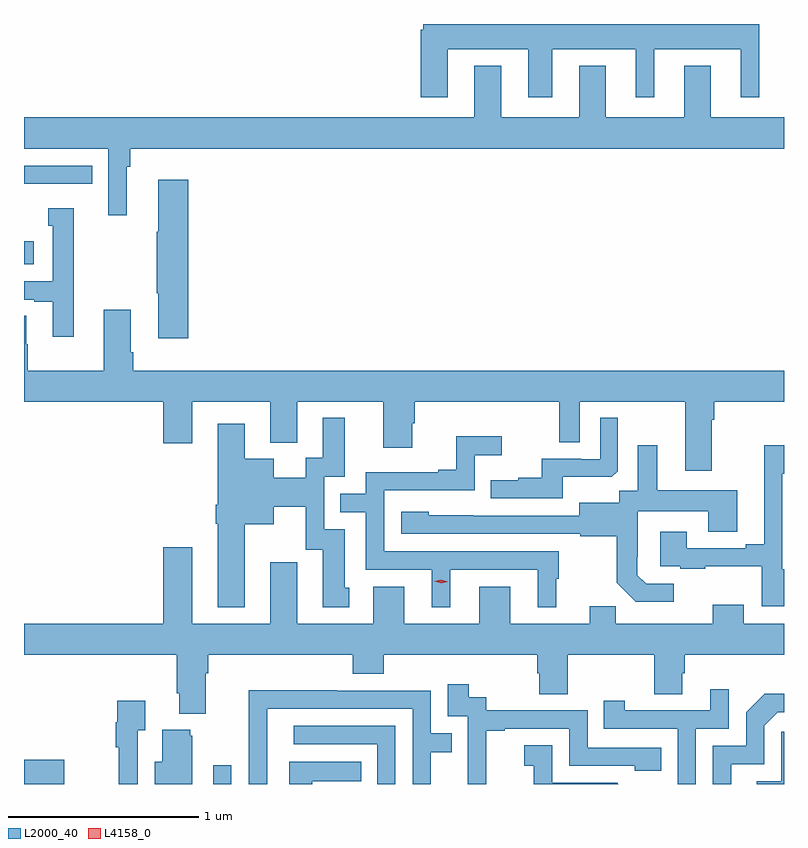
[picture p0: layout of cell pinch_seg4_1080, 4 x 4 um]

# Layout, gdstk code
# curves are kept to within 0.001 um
import gdstk
lib = gdstk.Library(unit=1e-6, precision=1e-09)
def R(c, l, rs):  # rectangles x0, y0, x1, y1
    for r in rs: c.add(gdstk.rectangle(r[:2], r[2:], *l))
def P(c, l, *ps):  # polygons
    for p in ps: c.add(gdstk.Polygon(p, *l))
L2000_40 = (2000, 40)
L4158_0 = (4158, 0)

pinch_seg4_1080 = lib.new_cell('pinch_seg4_1080')
R(pinch_seg4_1080, L2000_40, [(553.576,793.476,553.789,793.604), (554.571,793.476,554.667,793.576), (553.576,796.211,553.627,796.333), (553.576,796.635,553.934,796.731)])
P(pinch_seg4_1080, L2000_40, [(555.805,797.342),(556.229,797.342),(556.229,797.091),(556.357,797.091),(556.357,797.342),(556.796,797.342),(556.796,797.091),(556.894,797.091),(556.894,797.342),(557.348,797.342),(557.348,797.091),(557.446,797.091),(557.446,797.476),(555.677,797.476),(555.677,797.446),(555.665,797.446),(555.665,797.091),(555.805,797.091)],
  [(554.116,796.724),(554.135,796.724),(554.135,796.82),(557.576,796.82),(557.576,796.984),(557.191,796.984),(557.191,797.257),(557.051,797.257),(557.051,796.984),(556.639,796.984),(556.639,797.257),(556.499,797.257),(556.499,796.984),(556.087,796.984),(556.087,797.257),(555.947,797.257),(555.947,796.984),(553.576,796.984),(553.576,796.82),(554.019,796.82),(554.019,796.47),(554.116,796.47)],
  [(554.441,796.657),(554.282,796.657),(554.282,796.382),(554.275,796.382),(554.275,796.06),(554.282,796.06),(554.282,795.822),(554.441,795.822)],
  [(553.837,796.507),(553.703,796.507),(553.703,796.413),(553.728,796.413),(553.728,796.122),(553.576,796.122),(553.576,796.026),(553.631,796.026),(553.631,796.014),(553.727,796.014),(553.727,795.831),(553.837,795.831)],
  [(554.15,795.748),(554.137,795.748),(554.137,795.973),(553.997,795.973),(553.997,795.652),(553.596,795.652),(553.596,795.791),(553.588,795.791),(553.588,795.941),(553.576,795.941),(553.576,795.488),(554.309,795.488),(554.309,795.27),(554.461,795.27),(554.461,795.488),(554.873,795.488),(554.873,795.272),(555.013,795.272),(555.013,795.488),(555.467,795.488),(555.467,795.246),(555.619,795.246),(555.619,795.375),(555.632,795.375),(555.632,795.488),(556.392,795.488),(556.392,795.274),(556.5,795.274),(556.5,795.488),(557.057,795.488),(557.057,795.126),(557.197,795.126),(557.197,795.392),(557.21,795.392),(557.21,795.488),(557.576,795.488),(557.576,795.652),(554.15,795.652)],
  [(554.737,794.843),(554.89,794.843),(554.89,794.936),(555.06,794.936),(555.06,794.709),(555.149,794.709),(555.149,794.406),(555.289,794.406),(555.289,794.508),(555.265,794.508),(555.265,794.817),(555.156,794.817),(555.156,795.093),(555.265,795.093),(555.265,795.403),(555.149,795.403),(555.149,795.194),(555.059,795.194),(555.059,795.088),(554.89,795.088),(554.89,795.187),(554.737,795.187),(554.737,795.373),(554.597,795.373),(554.597,794.947),(554.585,794.947),(554.585,794.847),(554.597,794.847),(554.597,794.405),(554.737,794.405)],
  [(556.411,795.092),(556.669,795.092),(556.701,795.123),(556.701,795.403),(556.608,795.403),(556.608,795.186),(556.508,795.186),(556.508,795.189),(556.301,795.189),(556.301,795.088),(556.177,795.088),(556.177,795.076),(556.033,795.076),(556.033,794.979),(556.411,794.979)],
  [(555.82,794.604),(556.28,794.604),(556.28,794.405),(556.378,794.405),(556.378,794.556),(556.39,794.556),(556.39,794.7),(555.471,794.7),(555.471,795.021),(555.948,795.021),(555.948,795.206),(556.09,795.206),(556.09,795.305),(555.85,795.305),(555.85,795.13),(555.755,795.13),(555.755,795.117),(555.375,795.117),(555.375,795.003),(555.241,795.003),(555.241,794.907),(555.375,794.907),(555.375,794.604),(555.722,794.604),(555.722,794.405),(555.82,794.405)],
  [(556.996,794.529),(556.851,794.529),(556.804,794.576),(556.804,794.671),(556.806,794.671),(556.806,794.912),(557.177,794.912),(557.177,794.803),(557.329,794.803),(557.329,795.022),(556.909,795.022),(556.909,795.259),(556.805,795.259),(556.805,795.02),(556.71,795.02),(556.71,794.956),(556.499,794.956),(556.499,794.889),(555.705,794.89),(555.705,794.908),(555.561,794.908),(555.561,794.793),(556.503,794.793),(556.503,794.781),(556.695,794.781),(556.695,794.535),(556.795,794.435),(556.996,794.435)],
  [(557.576,794.605),(557.568,794.605),(557.568,795.11),(557.576,795.11),(557.576,795.259),(557.471,795.259),(557.471,794.737),(557.375,794.737),(557.375,794.718),(557.065,794.718),(557.065,794.803),(556.925,794.803),(556.925,794.622),(557.029,794.622),(557.029,794.61),(557.161,794.61),(557.161,794.621),(557.46,794.621),(557.46,794.412),(557.576,794.412)],
  [(556.135,794.515),(555.971,794.515),(555.971,794.32),(555.577,794.32),(555.577,794.515),(555.413,794.515),(555.413,794.32),(555.013,794.32),(555.013,794.644),(554.873,794.644),(554.873,794.32),(554.461,794.32),(554.461,794.722),(554.309,794.722),(554.309,794.32),(553.576,794.32),(553.576,794.156),(554.381,794.156),(554.381,793.954),(554.393,793.954),(554.393,793.847),(554.533,793.847),(554.533,794.06),(554.546,794.06),(554.546,794.156),(555.305,794.156),(555.305,794.057),(555.47,794.057),(555.47,794.156),(556.277,794.156),(556.277,794.058),(556.289,794.058),(556.289,793.948),(556.437,793.948),(556.437,794.156),(556.894,794.156),(556.894,793.948),(557.041,793.948),(557.041,794.058),(557.054,794.058),(557.054,794.156),(557.576,794.156),(557.576,794.32),(557.365,794.32),(557.365,794.419),(557.201,794.419),(557.201,794.32),(556.691,794.32),(556.691,794.411),(556.553,794.411),(556.553,794.32),(556.135,794.32)],
  [(556.01,793.755),(556.105,793.755),(556.105,793.767),(556.446,793.767),(556.446,793.572),(556.791,793.572),(556.791,793.545),(556.931,793.545),(556.931,793.668),(556.542,793.668),(556.542,793.863),(556.008,793.863),(556.008,793.932),(555.916,793.932),(555.916,794.002),(555.807,794.002),(555.807,793.833),(555.912,793.833),(555.912,793.604),(555.911,793.604),(555.911,793.476),(556.01,793.476)],
  [(557.112,793.767),(557.286,793.767),(557.286,793.975),(557.189,793.975),(557.189,793.863),(556.738,793.863),(556.738,793.915),(556.627,793.915),(556.627,793.767),(557.016,793.767),(557.016,793.476),(557.112,793.476)],
  [(554.856,793.872),(555.621,793.872),(555.621,793.476),(555.717,793.476),(555.717,793.642),(555.827,793.642),(555.827,793.743),(555.717,793.743),(555.717,793.968),(555.221,793.968),(555.221,793.97),(554.758,793.97),(554.758,793.663),(554.76,793.663),(554.76,793.476),(554.856,793.476)],
  [(557.299,793.581),(557.472,793.581),(557.472,793.782),(557.544,793.854),(557.576,793.854),(557.576,793.952),(557.474,793.952),(557.376,793.854),(557.376,793.677),(557.202,793.677),(557.202,793.476),(557.299,793.476)],
  [(554.175,793.759),(554.215,793.759),(554.215,793.915),(554.067,793.915),(554.067,793.802),(554.059,793.802),(554.059,793.67),(554.074,793.67),(554.074,793.476),(554.175,793.476)],
  [(555.531,793.782),(554.997,793.782),(554.997,793.686),(555.435,793.686),(555.435,793.476),(555.531,793.476)],
  [(554.461,793.731),(554.45,793.731),(554.45,793.762),(554.303,793.762),(554.303,793.594),(554.264,793.594),(554.264,793.476),(554.461,793.476)],
  [(557.576,793.75),(557.562,793.75),(557.562,793.491),(557.433,793.491),(557.433,793.476),(557.576,793.476)],
  [(556.698,793.482),(556.356,793.482),(556.356,793.681),(556.209,793.681),(556.209,793.571),(556.258,793.571),(556.258,793.476),(556.704,793.476)],
  [(555.093,793.49),(555.35,793.49),(555.35,793.594),(554.972,793.594),(554.972,793.476),(555.093,793.476)])
P(pinch_seg4_1080, L4158_0, [(555.771,794.532),(555.735,794.542),(555.735,794.542),(555.735,794.543),(555.771,794.552),(555.807,794.541),(555.807,794.541),(555.807,794.541)])

lib.write_gds('pinch_seg4_1080.gds')
